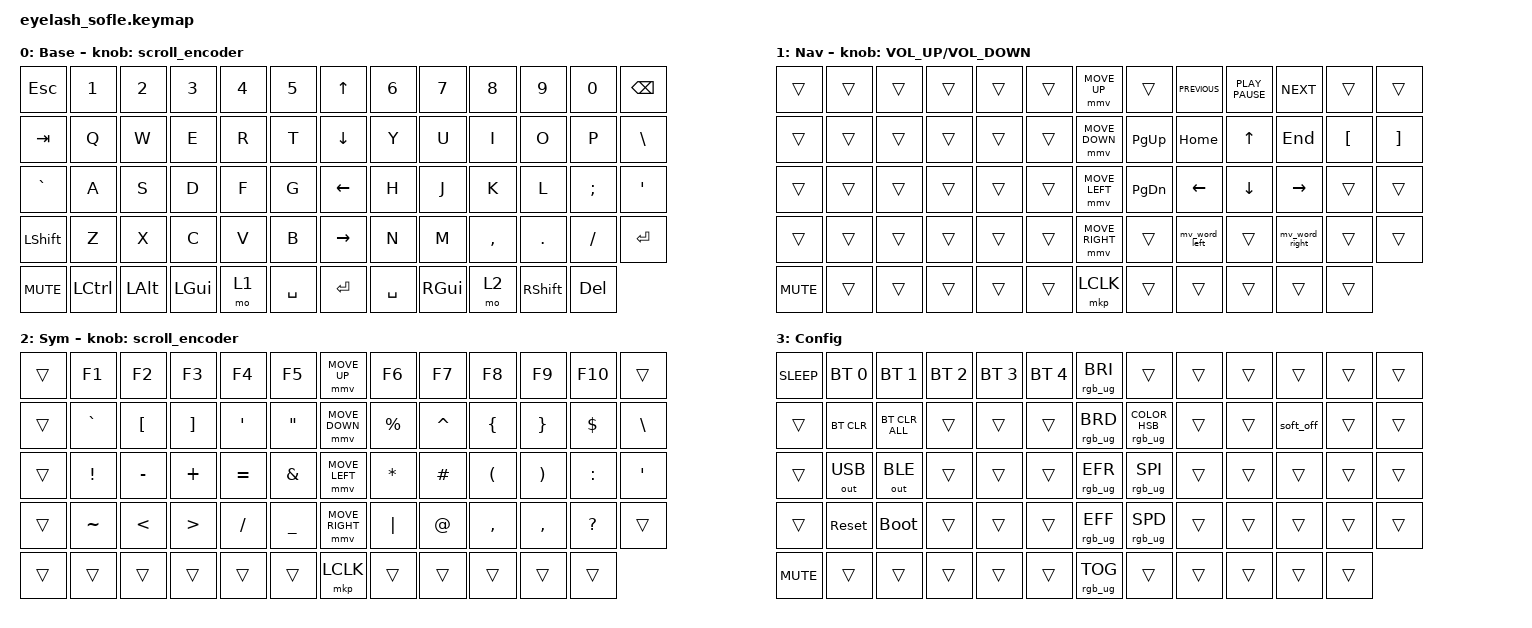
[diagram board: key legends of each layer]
#define ZMK_POINTING_DEFAULT_MOVE_VAL 1200  // 600
#define ZMK_POINTING_DEFAULT_SCRL_VAL 25   // 10

#include <input/processors.dtsi>
#include <zephyr/dt-bindings/input/input-event-codes.h>
#include <behaviors.dtsi>
#include <dt-bindings/zmk/bt.h>
#include <dt-bindings/zmk/keys.h>
#include <dt-bindings/zmk/outputs.h>
#include <dt-bindings/zmk/pointing.h>
#include <dt-bindings/zmk/rgb.h>

&mmv_input_listener { input-processors = <&zip_xy_scaler 2 1>; };

&msc_input_listener { input-processors = <&zip_scroll_scaler 2 1>; };

&msc {
    acceleration-exponent = <1>;      // 0
    time-to-max-speed-ms = <100>;       // 300
    delay-ms = <0>;                   // 0
};

&mmv {
    time-to-max-speed-ms = <500>;
    acceleration-exponent = <1>;
    trigger-period-ms = <16>;
};

&soft_off { hold-time-ms = <2000>; };

/ {
    scroll_encoder: scroll_encoder {
        compatible = "zmk,behavior-sensor-rotate";
        #sensor-binding-cells = <0>;
        bindings = <&msc SCRL_DOWN>, <&msc SCRL_UP>;

        tap-ms = <100>;
    };

    behaviors {
    };

    combos {
        compatible = "zmk,combos";

        softoff {
            bindings = <&soft_off>;
            key-positions = <14 28 40>;
        };
    };

    macros {
        SHIFT_MCLK: SHIFT_MCLK {
            compatible = "zmk,behavior-macro";
            #binding-cells = <0>;
            bindings =
                <&macro_press>,
                <&kp LEFT_SHIFT>,
                <&macro_press>,
                <&mkp MB3>,
                <&macro_pause_for_release>,
                <&macro_release>,
                <&kp LEFT_SHIFT &mkp MB3>;

            label = "SHIFT_MCLK";
        };

        mv_word_left: mv_word_left {
            compatible = "zmk,behavior-macro";
            #binding-cells = <0>;
            bindings = <&kp LA(LEFT)>;
            label = "MV_WORD_LEFT";
        };

        mv_word_right: mv_word_right {
            compatible = "zmk,behavior-macro";
            #binding-cells = <0>;
            bindings = <&kp LA(RIGHT)>;
            label = "MV_WORD_RIGHT";
        };
    };

    keymap {
        compatible = "zmk,keymap";

        base_layer {
            bindings = <
&kp ESC     &kp N1     &kp N2        &kp N3        &kp N4  &kp N5       &kp UP_ARROW     &kp N6     &kp N7         &kp N8     &kp N9           &kp N0      &kp BACKSPACE
&kp TAB     &kp Q      &kp W         &kp E         &kp R   &kp T        &kp DOWN_ARROW   &kp Y      &kp U          &kp I      &kp O            &kp P       &kp BSLH
&kp GRAVE   &kp A      &kp S         &kp D         &kp F   &kp G        &kp LEFT_ARROW   &kp H      &kp J          &kp K      &kp L            &kp SEMI    &kp APOS
&kp LSHFT   &kp Z      &kp X         &kp C         &kp V   &kp B        &kp RIGHT_ARROW  &kp N      &kp M          &kp COMMA  &kp DOT          &kp FSLH    &kp ENTER
&kp C_MUTE  &kp LCTRL  &kp LEFT_ALT  &kp LEFT_GUI  &mo 1   &kp SPACE    &kp ENTER        &kp SPACE  &kp RIGHT_GUI  &mo 2      &kp RIGHT_SHIFT  &kp DELETE
            >;

            sensor-bindings = <&scroll_encoder>;
            display-name = "Base";
        };

        navigation_layer {
            bindings = <
&trans      &trans  &trans  &trans  &trans  &trans    &mmv MOVE_UP     &trans     &kp K_PREVIOUS  &kp K_PLAY_PAUSE  &kp C_NEXT      &trans            &trans
&trans      &trans  &trans  &trans  &trans  &trans    &mmv MOVE_DOWN   &kp PG_UP  &kp HOME        &kp UP            &kp END         &kp LEFT_BRACKET  &kp RIGHT_BRACKET
&trans      &trans  &trans  &trans  &trans  &trans    &mmv MOVE_LEFT   &kp PG_DN  &kp LEFT        &kp DOWN          &kp RIGHT       &trans            &trans
&trans      &trans  &trans  &trans  &trans  &trans    &mmv MOVE_RIGHT  &trans     &mv_word_left   &trans            &mv_word_right  &trans            &trans
&kp C_MUTE  &trans  &trans  &trans  &trans  &trans    &mkp LCLK        &trans     &trans          &trans            &trans          &trans
            >;

            display-name = "Nav";
            sensor-bindings = <&inc_dec_kp C_VOLUME_UP C_VOLUME_DOWN>;
        };

        symbol_layer {
            bindings = <
&trans  &kp F1           &kp F2            &kp F3             &kp F4            &kp F5               &mmv MOVE_UP     &kp F6        &kp F7       &kp F8                &kp F9                 &kp F10       &trans
&trans  &kp GRAVE        &kp LEFT_BRACKET  &kp RIGHT_BRACKET  &kp SINGLE_QUOTE  &kp DOUBLE_QUOTES    &mmv MOVE_DOWN   &kp PERCENT   &kp CARET    &kp LEFT_BRACE        &kp RIGHT_BRACE        &kp DOLLAR    &kp BACKSLASH
&trans  &kp EXCLAMATION  &kp MINUS         &kp PLUS           &kp EQUAL         &kp AMPERSAND        &mmv MOVE_LEFT   &kp ASTERISK  &kp HASH     &kp LEFT_PARENTHESIS  &kp RIGHT_PARENTHESIS  &kp COLON     &kp SQT
&trans  &kp TILDE        &kp LESS_THAN     &kp GREATER_THAN   &kp SLASH         &kp UNDERSCORE       &mmv MOVE_RIGHT  &kp PIPE      &kp AT_SIGN  &kp COMMA             &kp COMMA              &kp QUESTION  &trans
&trans  &trans           &trans            &trans             &trans            &trans               &mkp LCLK        &trans        &trans       &trans                &trans                 &trans
            >;

            display-name = "Sym";
            sensor-bindings = <&scroll_encoder>;
        };

        config_layer {
            bindings = <
&kp C_SLEEP  &bt BT_SEL 0  &bt BT_SEL 1    &bt BT_SEL 2  &bt BT_SEL 3  &bt BT_SEL 4    &rgb_ug RGB_BRI  &trans                          &trans  &trans  &trans     &trans  &trans
&trans       &bt BT_CLR    &bt BT_CLR_ALL  &trans        &trans        &trans          &rgb_ug RGB_BRD  &rgb_ug RGB_COLOR_HSB(0,0,100)  &trans  &trans  &soft_off  &trans  &trans
&trans       &out OUT_USB  &out OUT_BLE    &trans        &trans        &trans          &rgb_ug RGB_EFR  &rgb_ug RGB_SPI                 &trans  &trans  &trans     &trans  &trans
&trans       &sys_reset    &bootloader     &trans        &trans        &trans          &rgb_ug RGB_EFF  &rgb_ug RGB_SPD                 &trans  &trans  &trans     &trans  &trans
&kp C_MUTE   &trans        &trans          &trans        &trans        &trans          &rgb_ug RGB_TOG  &trans                          &trans  &trans  &trans     &trans
            >;

            display-name = "Config";
        };
    };

    conditional_layers {
        compatible = "zmk,conditional-layers";

        config-layer {
            if-layers = <1 2>;
            then-layer = <3>;
        };
    };
};
